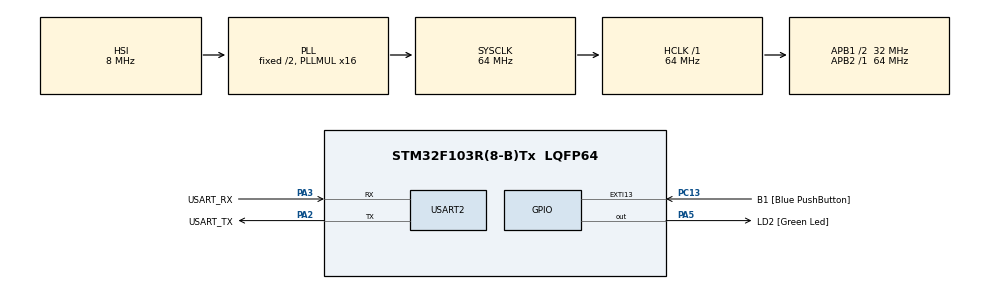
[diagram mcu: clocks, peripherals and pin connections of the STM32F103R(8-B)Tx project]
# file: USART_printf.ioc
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Mcu.Family=STM32F1
Mcu.Name=STM32F103R(8-B)Tx
Mcu.Package=LQFP64
NVIC.EXTI15_10_IRQn=true\:0\:0\:false\:false\:true\:true\:true\:true
NVIC.PriorityGroup=NVIC_PRIORITYGROUP_4
PA13.GPIO_Label=TMS
PA13.Mode=Serial_Wire
PA13.Signal=SYS_JTMS-SWDIO
PA14.GPIO_Label=TCK
PA14.Mode=Serial_Wire
PA14.Signal=SYS_JTCK-SWCLK
PA2.GPIO_Label=USART_TX
PA2.GPIO_Mode=GPIO_MODE_AF_PP
PA2.GPIO_PuPd=GPIO_NOPULL
PA2.GPIO_Speed=GPIO_SPEED_FREQ_LOW
PA2.Mode=Asynchronous
PA2.Signal=USART2_TX
PA3.GPIO_Label=USART_RX
PA3.GPIO_Mode=GPIO_MODE_INPUT
PA3.GPIO_PuPd=GPIO_NOPULL
PA3.Mode=Asynchronous
PA3.Signal=USART2_RX
PA5.GPIO_Label=LD2 [Green Led]
PA5.GPIO_ModeDefaultOutputPP=GPIO_MODE_OUTPUT_PP
PA5.GPIO_PuPd=GPIO_NOPULL
PA5.GPIO_Speed=GPIO_SPEED_FREQ_LOW
PA5.Signal=GPIO_Output
PB3.GPIO_Label=SWO
PB3.Signal=SYS_JTDO-TRACESWO
PC13-TAMPER-RTC.GPIO_Label=B1 [Blue PushButton]
PC13-TAMPER-RTC.GPIO_PuPd=GPIO_NOPULL
PC13-TAMPER-RTC.Signal=GPXTI13
PC14-OSC32_IN.Mode=LSE-External-Oscillator
PC14-OSC32_IN.Signal=RCC_OSC32_IN
PC15-OSC32_OUT.Mode=LSE-External-Oscillator
PC15-OSC32_OUT.Signal=RCC_OSC32_OUT
PD0-OSC_IN.Mode=HSE-External-Clock-Source
PD0-OSC_IN.Signal=RCC_OSC_IN
PD1-OSC_OUT.Mode=HSE-External-Clock-Source
PD1-OSC_OUT.Signal=RCC_OSC_OUT
ProjectManager.HeapSize=0x200
ProjectManager.StackSize=0x400
ProjectManager.TargetToolchain=STM32CubeIDE
RCC.AHBFreq_Value=64000000
RCC.APB1CLKDivider=RCC_HCLK_DIV2
RCC.APB1Freq_Value=32000000
RCC.APB1TimFreq_Value=64000000
RCC.APB2Freq_Value=64000000
RCC.APB2TimFreq_Value=64000000
RCC.HCLKFreq_Value=64000000
RCC.PLLMUL=RCC_PLL_MUL16
RCC.RTCClockSelection=RCC_RTCCLKSOURCE_LSE
RCC.SYSCLKFreq_VALUE=64000000
RCC.SYSCLKSource=RCC_SYSCLKSOURCE_PLLCLK
RCC.USBFreq_Value=64000000
USART2.VirtualMode=VM_ASYNC
board=NUCLEO-F103RB

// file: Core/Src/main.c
/* USER CODE BEGIN Header */
/**
 ******************************************************************************
 * @file           : main.c
 * @brief          : Main program body
 ******************************************************************************
 * @attention
 *
 * Copyright (c) 2026 STMicroelectronics.
 * All rights reserved.
 *
 * This software is licensed under terms that can be found in the LICENSE file
 * in the root directory of this software component.
 * If no LICENSE file comes with this software, it is provided AS-IS.
 *
 ******************************************************************************
 */
/**
 * 01_USART_printf  —  [계층: HAL]  printf 출력을 USART2(ST-Link 가상 COM 포트)로 보내기
 *
 * 동작: printf -> newlib _write (syscalls.c) -> __io_putchar(ch) (이 파일) -> HAL_UART_Transmit
 *   '\n' 앞에 '\r' 을 추가 전송해 터미널에서 줄 바꿈이 맞게 보이게 한다.
 *
 * 하드웨어 대응 (RM0008)
 *   USART2 : PA2(TX) / PA3(RX), 115200bps 8N1  -> USART2_BRR, USART2_CR1(TE/RE/UE)
 *   HAL_UART_Transmit : USART2_SR.TXE 를 폴링하며 USART2_DR 에 1바이트씩 기록 (블로킹)
 *
 * 이중 출력: __io_putchar 가 USART2(PA2)와 USART1(PA9, USART1_User_Init 에서 초기화)
 *   양쪽으로 같은 바이트를 보낸다. USART1 은 CubeMX(.ioc)에 없고 USER CODE 안에서만 설정한다.
 *
 * 인터럽트/콜백 없음 (폴링 송신). ISR 은 SysTick_Handler(HAL_Delay 용)뿐이다.
 * 이후 모든 예제의 디버그 출력 방식의 기본이 되는 코드이다.
 */
/* USER CODE END Header */
#include "main.h"

/* USER CODE BEGIN Includes */
#include <stdio.h>
/* USER CODE END Includes */

UART_HandleTypeDef huart2;

/* USER CODE BEGIN PV */
/* USART1 핸들 (PA9=TX, PA10=RX). CubeMX 생성 영역 밖에서 쓰지 않도록 USER CODE 안에 둔다. */
UART_HandleTypeDef huart1;
/* USER CODE END PV */

void SystemClock_Config(void);
static void MX_GPIO_Init(void);
static void MX_USART2_UART_Init(void);
/* USER CODE BEGIN PFP */
static void USART1_User_Init(void);
/* USER CODE END PFP */

/* USER CODE BEGIN 0 */
#ifdef __GNUC__
#define PUTCHAR_PROTOTYPE int __io_putchar(int ch)
#else
#define PUTCHAR_PROTOTYPE int fputc(int ch, FILE *f)
#endif

/* printf 한 글자를 USART2(ST-Link 가상 COM)와 USART1(PA9) 두 곳으로 차례로 보낸다.
 * 두 번 모두 블로킹 송신이므로 한 글자당 두 USART의 송신 시간이 더해진다. */
PUTCHAR_PROTOTYPE {
  uint8_t c = (uint8_t)ch;

  if (ch == '\n') {
    HAL_UART_Transmit(&huart2, (uint8_t *)"\r", 1, 0xFFFF);
    HAL_UART_Transmit(&huart1, (uint8_t *)"\r", 1, 0xFFFF);
  }

  HAL_UART_Transmit(&huart2, &c, 1, 0xFFFF);
  HAL_UART_Transmit(&huart1, &c, 1, 0xFFFF);

  return ch;
}
/* USER CODE END 0 */

int main(void)
{

  /* USER CODE BEGIN 1 */
//   uint8_t sMsg[35] = {'\0'};
  uint8_t index = 0;
  /* USER CODE END 1 */

  /* MCU Configuration--------------------------------------------------------*/

  /* Reset of all peripherals, Initializes the Flash interface and the Systick. */
  HAL_Init();

  /* Configure the system clock */
  SystemClock_Config();

  /* Initialize all configured peripherals */
  MX_GPIO_Init();
  MX_USART2_UART_Init();
  /* USER CODE BEGIN 2 */
  USART1_User_Init();   /* USART1 추가 초기화 (printf 이중 출력용) */
  /* USER CODE END 2 */

  /* Infinite loop */
  /* USER CODE BEGIN WHILE */
  HAL_Delay(1000);
  while (1) {
    /* USER CODE END WHILE */

    /* USER CODE BEGIN 3 */
    /* 줄 끝은 '\n' 하나만 쓴다. __io_putchar 가 '\n' 앞에 '\r' 을 붙이므로
     * 실제 송신 바이트는 0D 0A (CR LF) 가 된다. "\r\n" 을 쓰면 0D 0D 0A 가 된다. */
    // printf("Hello World!\n");
    // printf("Hello, everyone! index = %d\n", index++);
    // printf("%s", sMsg);

    // printf("Hello, everyone! index = %d\n", index++);
    printf("C\n");
    HAL_Delay(1000);
  }
  /* USER CODE END 3 */
}

void SystemClock_Config(void)
{
  RCC_OscInitTypeDef RCC_OscInitStruct = {0};
  RCC_ClkInitTypeDef RCC_ClkInitStruct = {0};

  /** Initializes the RCC Oscillators according to the specified parameters
  * in the RCC_OscInitTypeDef structure.
  */
  RCC_OscInitStruct.OscillatorType = RCC_OSCILLATORTYPE_HSI;
  RCC_OscInitStruct.HSIState = RCC_HSI_ON;
  RCC_OscInitStruct.HSICalibrationValue = RCC_HSICALIBRATION_DEFAULT;
  RCC_OscInitStruct.PLL.PLLState = RCC_PLL_ON;
  RCC_OscInitStruct.PLL.PLLSource = RCC_PLLSOURCE_HSI_DIV2;
  RCC_OscInitStruct.PLL.PLLMUL = RCC_PLL_MUL16;
  if (HAL_RCC_OscConfig(&RCC_OscInitStruct) != HAL_OK)
  {
    Error_Handler();
  }

  /** Initializes the CPU, AHB and APB buses clocks
  */
  RCC_ClkInitStruct.ClockType = RCC_CLOCKTYPE_HCLK|RCC_CLOCKTYPE_SYSCLK
                              |RCC_CLOCKTYPE_PCLK1|RCC_CLOCKTYPE_PCLK2;
  RCC_ClkInitStruct.SYSCLKSource = RCC_SYSCLKSOURCE_PLLCLK;
  RCC_ClkInitStruct.AHBCLKDivider = RCC_SYSCLK_DIV1;
  RCC_ClkInitStruct.APB1CLKDivider = RCC_HCLK_DIV2;
  RCC_ClkInitStruct.APB2CLKDivider = RCC_HCLK_DIV1;

  if (HAL_RCC_ClockConfig(&RCC_ClkInitStruct, FLASH_LATENCY_2) != HAL_OK)
  {
    Error_Handler();
  }
}

static void MX_USART2_UART_Init(void)
{

  huart2.Instance = USART2;
  huart2.Init.BaudRate = 115200;
  huart2.Init.WordLength = UART_WORDLENGTH_8B;
  huart2.Init.StopBits = UART_STOPBITS_1;
  huart2.Init.Parity = UART_PARITY_NONE;
  huart2.Init.Mode = UART_MODE_TX_RX;
  huart2.Init.HwFlowCtl = UART_HWCONTROL_NONE;
  huart2.Init.OverSampling = UART_OVERSAMPLING_16;
  if (HAL_UART_Init(&huart2) != HAL_OK)
  {
    Error_Handler();
  }

}

static void MX_GPIO_Init(void)
{
  GPIO_InitTypeDef GPIO_InitStruct = {0};

  /* GPIO Ports Clock Enable */
  __HAL_RCC_GPIOC_CLK_ENABLE();
  __HAL_RCC_GPIOD_CLK_ENABLE();
  __HAL_RCC_GPIOA_CLK_ENABLE();
  __HAL_RCC_GPIOB_CLK_ENABLE();

  /*Configure GPIO pin Output Level */
  HAL_GPIO_WritePin(LD2_GPIO_Port, LD2_Pin, GPIO_PIN_RESET);

  /*Configure GPIO pin : B1_Pin */
  GPIO_InitStruct.Pin = B1_Pin;
  GPIO_InitStruct.Mode = GPIO_MODE_IT_RISING;
  GPIO_InitStruct.Pull = GPIO_NOPULL;
  HAL_GPIO_Init(B1_GPIO_Port, &GPIO_InitStruct);

  /*Configure GPIO pin : LD2_Pin */
  GPIO_InitStruct.Pin = LD2_Pin;
  GPIO_InitStruct.Mode = GPIO_MODE_OUTPUT_PP;
  GPIO_InitStruct.Pull = GPIO_NOPULL;
  GPIO_InitStruct.Speed = GPIO_SPEED_FREQ_LOW;
  HAL_GPIO_Init(LD2_GPIO_Port, &GPIO_InitStruct);

  /* EXTI interrupt init*/
  HAL_NVIC_SetPriority(EXTI15_10_IRQn, 0, 0);
  HAL_NVIC_EnableIRQ(EXTI15_10_IRQn);

}

/* USER CODE BEGIN 4 */
/**
 * @brief USART1 초기화 (115200bps 8N1, 폴링 송신)
 *   RCC_APB2ENR : USART1EN(클럭), IOPAEN(포트 A 클럭)
 *   GPIOA_CRH   : PA9  = AF push-pull 출력 (USART1_TX), PA10 = 플로팅 입력 (USART1_RX)
 *   USART1_BRR / USART1_CR1(TE/RE/UE) : HAL_UART_Init 이 설정 (USART1 은 APB2 = 72 MHz)
 *
 * CubeMX 가 USART1 을 모르므로 HAL_UART_MspInit(stm32f1xx_hal_msp.c)이 USART1 을 처리하지
 * 않는다. 재생성에 덮어써지지 않도록 클럭·핀 설정을 여기서 직접 한다.
 * 배선: PA9(Nucleo D8) -> USB-시리얼 변환기 RX, GND 공통.
 */
static void USART1_User_Init(void)
{
  GPIO_InitTypeDef GPIO_InitStruct = {0};

  __HAL_RCC_USART1_CLK_ENABLE();   /* RCC_APB2ENR.USART1EN */
  __HAL_RCC_GPIOA_CLK_ENABLE();    /* RCC_APB2ENR.IOPAEN   */

  GPIO_InitStruct.Pin = GPIO_PIN_9;            /* PA9 : USART1_TX */
  GPIO_InitStruct.Mode = GPIO_MODE_AF_PP;
  GPIO_InitStruct.Speed = GPIO_SPEED_FREQ_HIGH;
  HAL_GPIO_Init(GPIOA, &GPIO_InitStruct);

  GPIO_InitStruct.Pin = GPIO_PIN_10;           /* PA10 : USART1_RX */
  GPIO_InitStruct.Mode = GPIO_MODE_INPUT;
  GPIO_InitStruct.Pull = GPIO_NOPULL;
  HAL_GPIO_Init(GPIOA, &GPIO_InitStruct);

  huart1.Instance = USART1;
  huart1.Init.BaudRate = 115200;
  huart1.Init.WordLength = UART_WORDLENGTH_8B;
  huart1.Init.StopBits = UART_STOPBITS_1;
  huart1.Init.Parity = UART_PARITY_NONE;
  huart1.Init.Mode = UART_MODE_TX_RX;
  huart1.Init.HwFlowCtl = UART_HWCONTROL_NONE;
  huart1.Init.OverSampling = UART_OVERSAMPLING_16;
  if (HAL_UART_Init(&huart1) != HAL_OK)
  {
    Error_Handler();
  }
}
/* USER CODE END 4 */

void Error_Handler(void)
{
  __disable_irq();
  while (1) {
  }
}
#ifdef USE_FULL_ASSERT
/**
  * @brief  Reports the name of the source file and the source line number
  *         where the assert_param error has occurred.
  * @param  file: pointer to the source file name
  * @param  line: assert_param error line source number
  * @retval None
  */
void assert_failed(uint8_t *file, uint32_t line)
{
  /* USER CODE BEGIN 6 */
  /* User can add his own implementation to report the file name and line
     number, ex: printf("Wrong parameters value: file %s on line %d\r\n", file,
     line) */
  /* USER CODE END 6 */
}
#endif /* USE_FULL_ASSERT */
